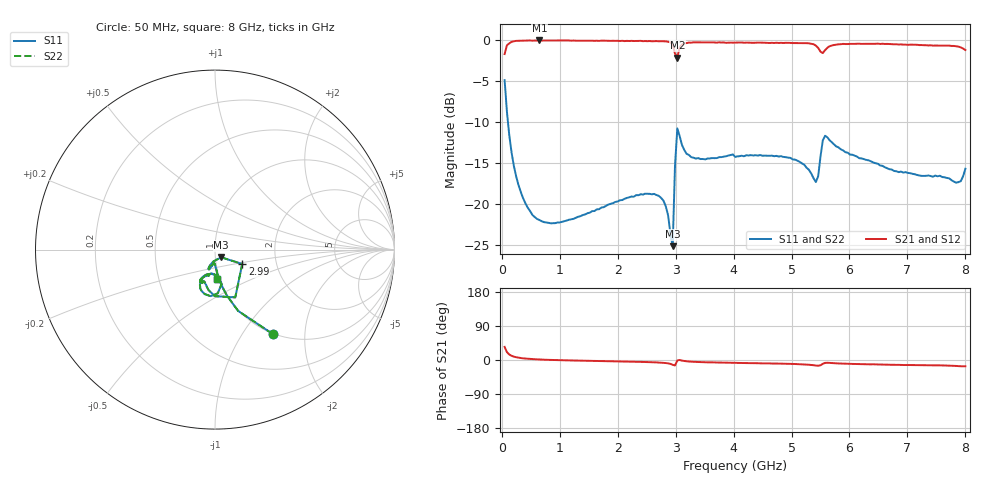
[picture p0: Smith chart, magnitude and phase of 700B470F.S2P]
!  American Technical Ceramics  Date:  3/13/98
!  One Norden Lane
!  Huntington Station,  NY.  11746-2102
!  Tel:  (516) 547-5700  Fax:  (516) 547-5748
!  Part Number  700B470F
!  Description: Porcelain, High Q, Low ESR
!  Application: Bypass, Coupling, Timing, Feedback
!  Tuning, Impedance Match, Blocking
# GHZ S DB R 50
! Freq  |S11|  S11 Ph  |S21|  S21 Ph  |S12|  S12 Ph  |S22|  S22 Ph
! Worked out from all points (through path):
!   201 points, 50 MHz to 8 GHz, reference 50 ohm
!   highest |S21| = -0.03 dB at 650 MHz (marker M1); lowest = -2.1 dB at 3.03 GHz (marker M2)
!   group delay of S21, straight-line fit = 6.87 ps
!   lowest |S11| = -25.2 dB at 2.95 GHz (marker M3), VSWR 1.12, Z = 53.4 - j4.59 ohm
!   |S11| at or under -10 dB: 107.7 MHz to end of sweep
!   |S22| runs from -25.2 to -4.9 dB; largest |S21 - S12| = 0
!   S11 on the Smith chart (normalised r, x): 50 MHz: 0.99, -1.38; 2.99 GHz: 1.34, -0.22; 8 GHz: 0.97, -0.33
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0.05  -4.88 -55.6  -1.69 34.6  -1.69 34.6  -4.88 -55.6
0.09  -8.75 -69.3  -0.62 20.9  -0.62 20.9  -8.75 -69.3
0.13  -11.58 -75.5  -0.39 14.6  -0.39 14.6  -11.58 -75.5
0.25  -16.67 -83.1  -0.08 7.3  -0.08 7.3  -16.67 -83.1
0.41  -19.96 -87.7  -0.04 3.9  -0.04 3.9  -19.96 -87.7
0.65  -21.98 -91.2  -0.03 1.4  -0.03 1.4  -21.98 -91.2
1.4  -21.37 -99.0  -0.05 -1.8  -0.05 -1.8  -21.37 -99.0
2.71  -19.03 -108.8  -0.13 -6.7  -0.13 -6.7  -19.03 -108.8
2.83  -20.28 -108.1  -0.14 -8.0  -0.14 -8.0  -20.28 -108.1
2.95  -25.18 -51.2  -0.53 -12.7  -0.53 -12.7  -25.18 -51.2
2.99  -15.31 -27.9  -1.65 -14.4  -1.65 -14.4  -15.31 -27.9
3.03  -10.78 -67.0  -2.12 -1.1  -2.12 -1.1  -10.78 -67.0
3.07  -11.72 -90.2  -0.87 0.1  -0.87 0.1  -11.72 -90.2
3.15  -13.42 -102.2  -0.37 -2.6  -0.37 -2.6  -13.42 -102.2
4.03  -14.27 -113.0  -0.29 -7.6  -0.29 -7.6  -14.27 -113.0
4.98  -14.38 -115.8  -0.33 -10.2  -0.33 -10.2  -14.38 -115.8
5.38  -16.87 -107.1  -0.49 -13.7  -0.49 -13.7  -16.87 -107.1
5.46  -16.63 -85.3  -0.94 -15.2  -0.94 -15.2  -16.63 -85.3
5.58  -11.68 -95.4  -1.21 -7.7  -1.21 -7.7  -11.68 -95.4
6.69  -15.78 -112.3  -0.47 -12.5  -0.47 -12.5  -15.78 -112.3
7.84  -17.42 -98.1  -0.74 -15.7  -0.74 -15.7  -17.42 -98.1
8  -15.71 -85.3  -1.20 -16.5  -1.20 -16.5  -15.71 -85.3
